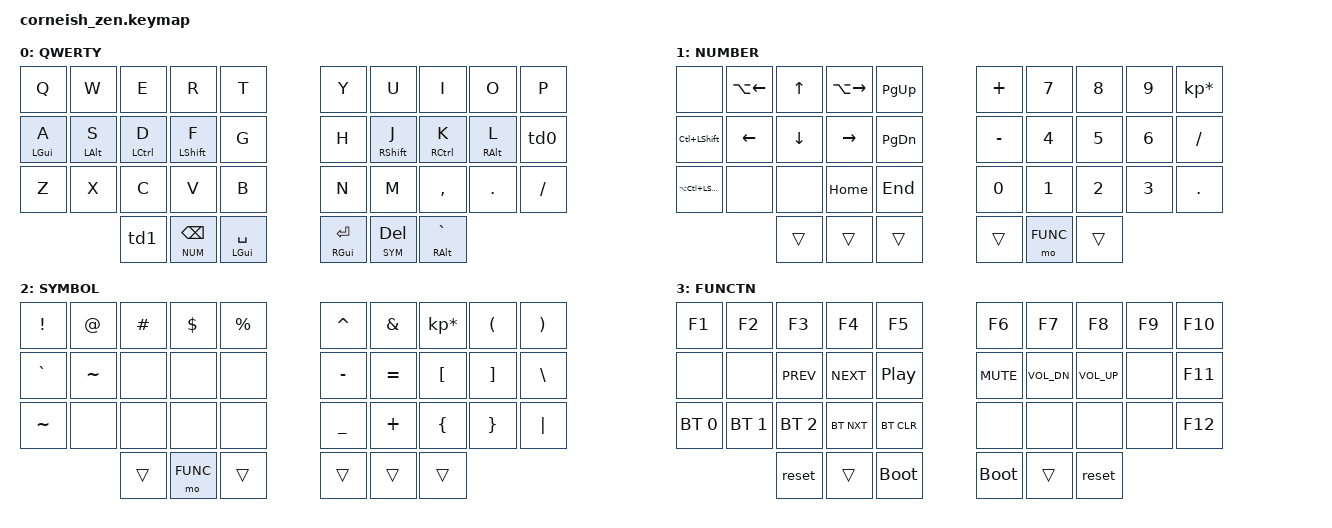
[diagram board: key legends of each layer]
/*
 * Copyright (c) 2020 The ZMK Contributors
 *
 * SPDX-License-Identifier: MIT
 */
#include <behaviors.dtsi>
#include <dt-bindings/zmk/keys.h>
#include <dt-bindings/zmk/bt.h>

/ {
  chosen {
    // zmk,matrix_transform = &default_transform;
    zmk,matrix_transform = &five_column_transform;
  };
};

// LAYERS
#define DEFAULT 0
#define NUM     1
#define SYM     2
#define FUNC    3

// MACROS
#define SUPER LC(LSHIFT)
#define SUPER2 LA(LC(LSHIFT))

&mt {
  tapping-term-ms = <200>;
  flavor = "tap-preferred";
};

/ {
  behaviors {
    hm: homerow_mods {
      compatible = "zmk,behavior-hold-tap";
      label = "HOMEROW_MODS";
      #binding-cells = <2>;
      tapping-term-ms = <200>;
      quick-tap-ms = <0>;
      flavor = "tap-preferred";
      bindings = <&kp>, <&kp>;
    };

    td0: tap_dance_0 {
      compatible = "zmk,behavior-tap-dance";
      label = "TAP_DANCE_0";
      #binding-cells = <0>;
      tapping-term-ms = <200>;
      bindings = <&hm RGUI SEMI>, <&kp SQT>;
    };

    td1: tap_dance_1 {
      compatible = "zmk,behavior-tap-dance";
      label = "TAP_DANCE_1";
      #binding-cells = <0>;
      tapping-term-ms = <200>;
      bindings = <&mt LCTRL TAB>, <&kp ESC>;
    };
  };

  combos {
    compatible = "zmk,combos";
    combo_cword {
      timeout-ms = <50>;
      key-positions = <16 19>;
      bindings = <&caps_word>;
    };

    combo_vimwq {
      timeout-ms = <50>;
      key-positions = <1 2>;
      bindings = <&vim_quit>;
    };
  };

  macros {
        vim_quit: vim_quit {
            label = "ZM_vim_quit";
            compatible = "zmk,behavior-macro";
            #binding-cells = <0>;
            bindings
                = <&macro_tap &kp ESC &kp COLON &kp W &kp Q>;
        };
    };

  keymap {
    compatible = "zmk,keymap";

    default_layer {
      label = "QWERTY";
      bindings = <

&kp Q           &kp W       &kp E       &kp R           &kp T   /**/  &kp Y    &kp U           &kp I       &kp O       &kp P
&hm LGUI A      &hm LALT S  &hm LCTRL D &hm LSHIFT F    &kp G   /**/  &kp H    &hm RSHIFT J    &hm RCTRL K &hm RALT L  &td0
&kp Z           &kp X       &kp C       &kp V           &kp B   /**/  &kp N    &kp M           &kp COMMA   &kp DOT     &kp FSLH
              &td1  &lt NUM BSPC &mt LGUI SPACE  /**/  &mt RGUI RET &lt SYM DEL &mt RALT GRAVE

      >;
    };

    num_layer {
      label = "NUMBER";
      bindings = <

&none         &kp LA(LEFT)  &kp UP        &kp LA(RIGHT) &kp PG_UP  /**/  &kp PLUS   &kp N7  &kp N8  &kp N9  &kp KP_MULTIPLY
&kp SUPER     &kp LEFT      &kp DOWN      &kp RIGHT     &kp PG_DN  /**/  &kp MINUS  &kp N4  &kp N5  &kp N6  &kp SLASH
&kp SUPER2    &none         &none         &kp HOME      &kp END    /**/  &kp N0     &kp N1  &kp N2  &kp N3  &kp DOT
              &trans  &trans  &trans  /**/  &trans  &mo FUNC  &trans

      >;
    };

    sym_layer {
      label = "SYMBOL";
      bindings = <

&kp EXCL    &kp AT         &kp HASH     &kp DLLR    &kp PRCNT   /**/  &kp CARET &kp AMPS  &kp KP_MULTIPLY &kp LPAR &kp RPAR
&kp GRAVE   &kp TILDE      &none        &none       &none  /**/  &kp MINUS &kp EQUAL &kp LBKT        &kp RBKT &kp BSLH
&kp TILDE   &none          &none        &none       &none       /**/  &kp UNDER &kp PLUS  &kp LBRC        &kp RBRC &kp PIPE
              &trans &mo FUNC &trans  /**/  &trans &trans &trans

      >;
    };

    func_layer {
      label = "FUNCTN";
      bindings = <
&kp F1          &kp F2          &kp F3          &kp F4     &kp F5            /**/  &kp F6             &kp F7            &kp F8        &kp F9   &kp F10
&none           &none           &kp C_PREV      &kp C_NEXT &kp C_PLAY_PAUSE  /**/  &kp C_MUTE         &kp C_VOL_DN      &kp C_VOL_UP  &none    &kp F11
&bt BT_SEL 0    &bt BT_SEL 1    &bt BT_SEL 2    &bt BT_NXT &bt BT_CLR        /**/  &none  &none   &none    &none    &kp F12
              &reset &trans &bootloader  /**/  &bootloader &trans &reset

      >;
    };
  };
};
